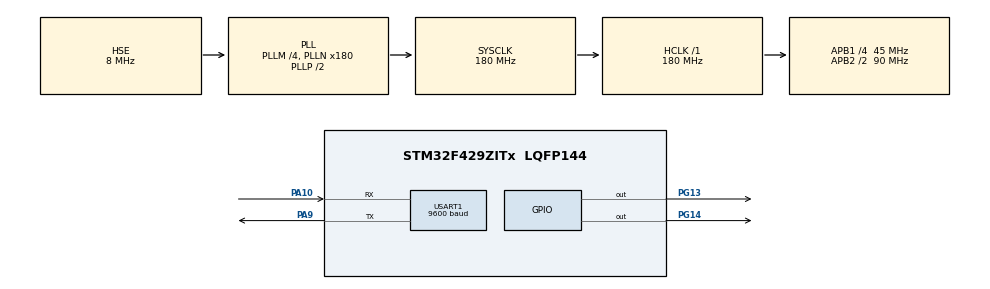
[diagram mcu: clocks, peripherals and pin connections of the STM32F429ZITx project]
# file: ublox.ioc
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Dma.Request0=USART1_RX
Dma.Request1=USART1_TX
Dma.USART1_RX.0.Direction=DMA_PERIPH_TO_MEMORY
Dma.USART1_RX.0.FIFOMode=DMA_FIFOMODE_DISABLE
Dma.USART1_RX.0.Instance=DMA2_Stream2
Dma.USART1_RX.0.MemDataAlignment=DMA_MDATAALIGN_BYTE
Dma.USART1_RX.0.MemInc=DMA_MINC_ENABLE
Dma.USART1_RX.0.Mode=DMA_NORMAL
Dma.USART1_RX.0.PeriphDataAlignment=DMA_PDATAALIGN_BYTE
Dma.USART1_RX.0.PeriphInc=DMA_PINC_DISABLE
Dma.USART1_RX.0.Priority=DMA_PRIORITY_LOW
Dma.USART1_TX.1.Direction=DMA_MEMORY_TO_PERIPH
Dma.USART1_TX.1.FIFOMode=DMA_FIFOMODE_DISABLE
Dma.USART1_TX.1.Instance=DMA2_Stream7
Dma.USART1_TX.1.MemDataAlignment=DMA_MDATAALIGN_BYTE
Dma.USART1_TX.1.MemInc=DMA_MINC_ENABLE
Dma.USART1_TX.1.Mode=DMA_NORMAL
Dma.USART1_TX.1.PeriphDataAlignment=DMA_PDATAALIGN_BYTE
Dma.USART1_TX.1.PeriphInc=DMA_PINC_DISABLE
Dma.USART1_TX.1.Priority=DMA_PRIORITY_LOW
Mcu.Family=STM32F4
Mcu.Name=STM32F429ZITx
Mcu.Package=LQFP144
NVIC.DMA2_Stream2_IRQn=true\:0\:0\:false\:false\:true\:false
NVIC.DMA2_Stream7_IRQn=true\:0\:0\:false\:false\:true\:false
NVIC.PriorityGroup=NVIC_PRIORITYGROUP_0
NVIC.USART1_IRQn=true\:0\:0\:false\:false\:true\:true
PA10.Mode=Asynchronous
PA10.Signal=USART1_RX
PA9.Mode=Asynchronous
PA9.Signal=USART1_TX
PG13.Signal=GPIO_Output
PG14.Signal=GPIO_Output
PH0/OSC_IN.Mode=HSE-External-Oscillator
PH0/OSC_IN.Signal=RCC_OSC_IN
PH1/OSC_OUT.Mode=HSE-External-Oscillator
PH1/OSC_OUT.Signal=RCC_OSC_OUT
ProjectManager.HeapSize=0x200
ProjectManager.StackSize=0x400
ProjectManager.TargetToolchain=TrueSTUDIO
RCC.48MHZClocksFreq_Value=51428571.428571425
RCC.AHBFreq_Value=180000000
RCC.APB1CLKDivider=RCC_HCLK_DIV4
RCC.APB1Freq_Value=45000000
RCC.APB1TimFreq_Value=90000000
RCC.APB2CLKDivider=RCC_HCLK_DIV2
RCC.APB2Freq_Value=90000000
RCC.APB2TimFreq_Value=180000000
RCC.CortexFreq_Value=180000000
RCC.HCLKFreq_Value=180000000
RCC.HSE_VALUE=8000000
RCC.HSI_VALUE=16000000
RCC.LSE_VALUE=32768
RCC.PLLM=4
RCC.PLLN=180
RCC.PLLQ=7
RCC.PLLSAIN=260
RCC.PLLSourceVirtual=RCC_PLLSOURCE_HSE
RCC.SYSCLKFreq_VALUE=180000000
RCC.SYSCLKSource=RCC_SYSCLKSOURCE_PLLCLK
RCC.VCOOutputFreq_Value=360000000
USART1.BaudRate=9600
USART1.VirtualMode=VM_ASYNC
board=32F429IDISCOVERY

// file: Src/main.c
/**
  ******************************************************************************
  * @file           : main.c
  * @brief          : Main program body
  ******************************************************************************
  ** This notice applies to any and all portions of this file
  * that are not between comment pairs USER CODE BEGIN and
  * USER CODE END. Other portions of this file, whether
  * inserted by the user or by software development tools
  * are owned by their respective copyright owners.
  *
  * COPYRIGHT(c) 2018 STMicroelectronics
  *
  * Redistribution and use in source and binary forms, with or without modification,
  * are permitted provided that the following conditions are met:
  *   1. Redistributions of source code must retain the above copyright notice,
  *      this list of conditions and the following disclaimer.
  *   2. Redistributions in binary form must reproduce the above copyright notice,
  *      this list of conditions and the following disclaimer in the documentation
  *      and/or other materials provided with the distribution.
  *   3. Neither the name of STMicroelectronics nor the names of its contributors
  *      may be used to endorse or promote products derived from this software
  *      without specific prior written permission.
  *
  * THIS SOFTWARE IS PROVIDED BY THE COPYRIGHT HOLDERS AND CONTRIBUTORS "AS IS"
  * AND ANY EXPRESS OR IMPLIED WARRANTIES, INCLUDING, BUT NOT LIMITED TO, THE
  * IMPLIED WARRANTIES OF MERCHANTABILITY AND FITNESS FOR A PARTICULAR PURPOSE ARE
  * DISCLAIMED. IN NO EVENT SHALL THE COPYRIGHT HOLDER OR CONTRIBUTORS BE LIABLE
  * FOR ANY DIRECT, INDIRECT, INCIDENTAL, SPECIAL, EXEMPLARY, OR CONSEQUENTIAL
  * DAMAGES (INCLUDING, BUT NOT LIMITED TO, PROCUREMENT OF SUBSTITUTE GOODS OR
  * SERVICES; LOSS OF USE, DATA, OR PROFITS; OR BUSINESS INTERRUPTION) HOWEVER
  * CAUSED AND ON ANY THEORY OF LIABILITY, WHETHER IN CONTRACT, STRICT LIABILITY,
  * OR TORT (INCLUDING NEGLIGENCE OR OTHERWISE) ARISING IN ANY WAY OUT OF THE USE
  * OF THIS SOFTWARE, EVEN IF ADVISED OF THE POSSIBILITY OF SUCH DAMAGE.
  *
  ******************************************************************************
  */
#include "main.h"
#include "stm32f4xx_hal.h"

/* USER CODE BEGIN Includes */
#include "queue_aar.h"
#include "ublox.h"
/* USER CODE END Includes */

UART_HandleTypeDef huart1;
DMA_HandleTypeDef hdma_usart1_rx;
DMA_HandleTypeDef hdma_usart1_tx;

/* USER CODE BEGIN PV */
struct Queue* gps_queue;
struct ublox_pos_data position_data;
/* Private variables ---------------------------------------------------------*/
volatile uint8_t rx_char;
/* USER CODE END PV */

void SystemClock_Config(void);
static void MX_GPIO_Init(void);
static void MX_DMA_Init(void);
static void MX_USART1_UART_Init(void);

/* USER CODE BEGIN PFP */
/* Private function prototypes -----------------------------------------------*/
void uart_storeFromISR(UART_HandleTypeDef *huart, uint8_t val)
{
	if(huart->Instance == USART1)
	{
		enqueue(gps_queue,val);
	}
}
void HAL_UART_RxCpltCallback(UART_HandleTypeDef *huart)
{
	HAL_UART_Receive_DMA(&huart1,(uint8_t *)&rx_char,1);
	uart_storeFromISR(huart,rx_char);
}
void HAL_UART_ErrorCallback(UART_HandleTypeDef *huart)
{
	HAL_GPIO_TogglePin(GPIOG,GPIO_PIN_14);
	if(huart->ErrorCode == HAL_UART_ERROR_ORE)
	{
	__HAL_UART_CLEAR_OREFLAG(huart);
    /* Enable the UART Parity Error Interrupt */
    SET_BIT(huart->Instance->CR1, USART_CR1_PEIE);
    /* Enable the UART Error Interrupt: (Frame error, noise error, overrun error) */
    SET_BIT(huart->Instance->CR3, USART_CR3_EIE);
	SET_BIT(huart->Instance->CR3, USART_CR3_DMAR);
	}
}
/* USER CODE END PFP */

int main(void)
{

  /* MCU Configuration----------------------------------------------------------*/

  /* Reset of all peripherals, Initializes the Flash interface and the Systick. */
  HAL_Init();

  /* Configure the system clock */
  SystemClock_Config();

  /* Initialize all configured peripherals */
  MX_GPIO_Init();
  MX_DMA_Init();
  MX_USART1_UART_Init();
  /* USER CODE BEGIN 2 */
  gps_queue = createQueue(300);
  disableNmea();
  HAL_Delay(2000);
  HAL_UART_Receive_DMA(&huart1,(uint8_t *)&rx_char,1);
  if(set_rate()==0)
  {
	  HAL_GPIO_TogglePin(GPIOG,GPIO_PIN_14);
  }
  /* USER CODE END 2 */

  /* Infinite loop */
  /* USER CODE BEGIN WHILE */
  while (1)
  {
	  HAL_Delay(500);
	  HAL_GPIO_TogglePin(GPIOG,GPIO_PIN_13);
  /* USER CODE END WHILE */

  }

}

void SystemClock_Config(void)
{

  RCC_OscInitTypeDef RCC_OscInitStruct;
  RCC_ClkInitTypeDef RCC_ClkInitStruct;

    /**Configure the main internal regulator output voltage
    */
  __HAL_RCC_PWR_CLK_ENABLE();

  __HAL_PWR_VOLTAGESCALING_CONFIG(PWR_REGULATOR_VOLTAGE_SCALE1);

    /**Initializes the CPU, AHB and APB busses clocks
    */
  RCC_OscInitStruct.OscillatorType = RCC_OSCILLATORTYPE_HSE;
  RCC_OscInitStruct.HSEState = RCC_HSE_ON;
  RCC_OscInitStruct.PLL.PLLState = RCC_PLL_ON;
  RCC_OscInitStruct.PLL.PLLSource = RCC_PLLSOURCE_HSE;
  RCC_OscInitStruct.PLL.PLLM = 4;
  RCC_OscInitStruct.PLL.PLLN = 180;
  RCC_OscInitStruct.PLL.PLLP = RCC_PLLP_DIV2;
  RCC_OscInitStruct.PLL.PLLQ = 7;
  if (HAL_RCC_OscConfig(&RCC_OscInitStruct) != HAL_OK)
  {
    _Error_Handler(__FILE__, __LINE__);
  }

    /**Activate the Over-Drive mode
    */
  if (HAL_PWREx_EnableOverDrive() != HAL_OK)
  {
    _Error_Handler(__FILE__, __LINE__);
  }

    /**Initializes the CPU, AHB and APB busses clocks
    */
  RCC_ClkInitStruct.ClockType = RCC_CLOCKTYPE_HCLK|RCC_CLOCKTYPE_SYSCLK
                              |RCC_CLOCKTYPE_PCLK1|RCC_CLOCKTYPE_PCLK2;
  RCC_ClkInitStruct.SYSCLKSource = RCC_SYSCLKSOURCE_PLLCLK;
  RCC_ClkInitStruct.AHBCLKDivider = RCC_SYSCLK_DIV1;
  RCC_ClkInitStruct.APB1CLKDivider = RCC_HCLK_DIV4;
  RCC_ClkInitStruct.APB2CLKDivider = RCC_HCLK_DIV2;

  if (HAL_RCC_ClockConfig(&RCC_ClkInitStruct, FLASH_LATENCY_5) != HAL_OK)
  {
    _Error_Handler(__FILE__, __LINE__);
  }

    /**Configure the Systick interrupt time
    */
  HAL_SYSTICK_Config(HAL_RCC_GetHCLKFreq()/1000);

    /**Configure the Systick
    */
  HAL_SYSTICK_CLKSourceConfig(SYSTICK_CLKSOURCE_HCLK);

  /* SysTick_IRQn interrupt configuration */
  HAL_NVIC_SetPriority(SysTick_IRQn, 0, 0);
}

/* USART1 init function */
static void MX_USART1_UART_Init(void)
{

  huart1.Instance = USART1;
  huart1.Init.BaudRate = 9600;
  huart1.Init.WordLength = UART_WORDLENGTH_8B;
  huart1.Init.StopBits = UART_STOPBITS_1;
  huart1.Init.Parity = UART_PARITY_NONE;
  huart1.Init.Mode = UART_MODE_TX_RX;
  huart1.Init.HwFlowCtl = UART_HWCONTROL_NONE;
  huart1.Init.OverSampling = UART_OVERSAMPLING_16;
  if (HAL_UART_Init(&huart1) != HAL_OK)
  {
    _Error_Handler(__FILE__, __LINE__);
  }

}

static void MX_DMA_Init(void)
{
  /* DMA controller clock enable */
  __HAL_RCC_DMA2_CLK_ENABLE();

  /* DMA interrupt init */
  /* DMA2_Stream2_IRQn interrupt configuration */
  HAL_NVIC_SetPriority(DMA2_Stream2_IRQn, 0, 0);
  HAL_NVIC_EnableIRQ(DMA2_Stream2_IRQn);
  /* DMA2_Stream7_IRQn interrupt configuration */
  HAL_NVIC_SetPriority(DMA2_Stream7_IRQn, 0, 0);
  HAL_NVIC_EnableIRQ(DMA2_Stream7_IRQn);

}

/** Configure pins as
        * Analog
        * Input
        * Output
        * EVENT_OUT
        * EXTI
*/
static void MX_GPIO_Init(void)
{

  GPIO_InitTypeDef GPIO_InitStruct;

  /* GPIO Ports Clock Enable */
  __HAL_RCC_GPIOH_CLK_ENABLE();
  __HAL_RCC_GPIOA_CLK_ENABLE();
  __HAL_RCC_GPIOG_CLK_ENABLE();

  /*Configure GPIO pin Output Level */
  HAL_GPIO_WritePin(GPIOG, GPIO_PIN_13|GPIO_PIN_14, GPIO_PIN_RESET);

  /*Configure GPIO pins : PG13 PG14 */
  GPIO_InitStruct.Pin = GPIO_PIN_13|GPIO_PIN_14;
  GPIO_InitStruct.Mode = GPIO_MODE_OUTPUT_PP;
  GPIO_InitStruct.Pull = GPIO_NOPULL;
  GPIO_InitStruct.Speed = GPIO_SPEED_FREQ_LOW;
  HAL_GPIO_Init(GPIOG, &GPIO_InitStruct);

}

void _Error_Handler(char *file, int line)
{
  while(1)
  {
  }
}

/************************ (C) COPYRIGHT STMicroelectronics *****END OF FILE****/
